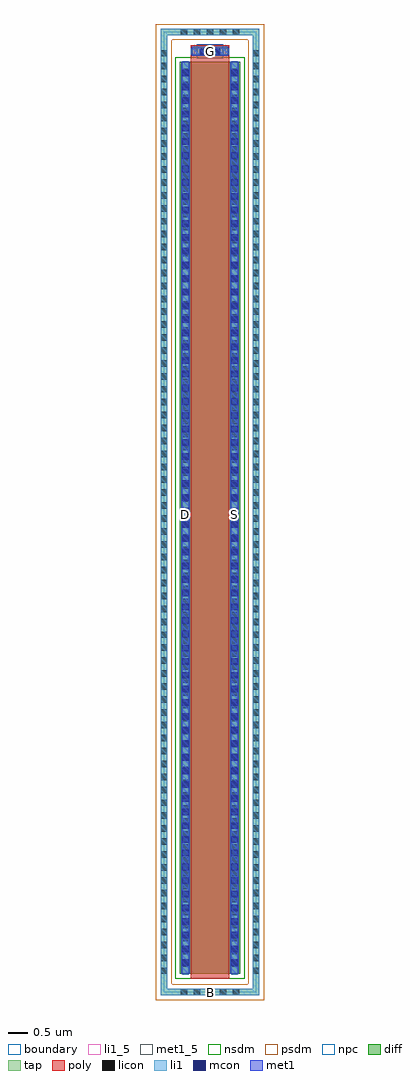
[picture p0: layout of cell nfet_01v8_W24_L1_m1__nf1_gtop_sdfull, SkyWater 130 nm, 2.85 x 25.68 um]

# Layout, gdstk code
import gdstk
lib = gdstk.Library(unit=1e-6, precision=1e-09)
def R(c, l, rs):  # rectangles x0, y0, x1, y1
    for r in rs: c.add(gdstk.rectangle(r[:2], r[2:], *l))
def A(c, l, x, y, w, h, nx, ny, dx, dy):  # array of equal rectangles
    R(c, l, [(x+i*dx, y+j*dy, x+i*dx+w, y+j*dy+h) for i in range(nx) for j in range(ny)])
diff = (65, 20)
tap = (65, 44)
poly = (66, 20)
licon = (66, 44)
li1_5 = (67, 5)
li1 = (67, 20)
mcon = (67, 44)
met1_5 = (68, 5)
met1 = (68, 20)
nsdm = (93, 44)
psdm = (94, 20)
npc = (95, 20)
boundary = (235, 4)

sky130_fd_pr__nfet_01v8_ = lib.new_cell('sky130_fd_pr__nfet_01v8_VTZVDW')
R(sky130_fd_pr__nfet_01v8_, diff, [(-0.79,-12.155,0.79,11.845)])
R(sky130_fd_pr__nfet_01v8_, tap, [(-1.3,-12.715,1.3,-12.545), (-1.3,-12.545,-1.13,12.545), (1.13,-12.545,1.3,12.545), (-1.3,12.545,1.3,12.715)])
R(sky130_fd_pr__nfet_01v8_, poly, [(-0.5,-12.285,0.5,12.285)])
A(sky130_fd_pr__nfet_01v8_, licon, -0.765, -12.715, 0.17, 0.17, 5, 2, 0.34, 25.26)
A(sky130_fd_pr__nfet_01v8_, licon, -1.3, -12.155, 0.17, 0.17, 1, 72, 0, 0.34)
A(sky130_fd_pr__nfet_01v8_, licon, 1.13, -12.155, 0.17, 0.17, 1, 72, 0, 0.34)
A(sky130_fd_pr__nfet_01v8_, licon, -0.73, -11.97, 0.17, 0.17, 1, 70, 0, 0.34)
A(sky130_fd_pr__nfet_01v8_, licon, 0.56, -11.97, 0.17, 0.17, 1, 70, 0, 0.34)
R(sky130_fd_pr__nfet_01v8_, licon, [(-0.255,12.035,-0.085,12.205), (0.085,12.035,0.255,12.205)])
R(sky130_fd_pr__nfet_01v8_, li1, [(-1.3,-12.715,1.3,-12.545), (-1.3,-12.545,-1.13,12.545), (1.13,-12.545,1.3,12.545), (-0.73,-12.175,-0.56,11.865), (0.56,-12.175,0.73,11.865), (-0.5,12.035,0.5,12.205), (-1.3,12.545,1.3,12.715)])
A(sky130_fd_pr__nfet_01v8_, mcon, -0.73, -11.94, 0.17, 0.17, 1, 66, 0, 0.36)
A(sky130_fd_pr__nfet_01v8_, mcon, 0.56, -11.94, 0.17, 0.17, 1, 66, 0, 0.36)
R(sky130_fd_pr__nfet_01v8_, mcon, [(-0.265,12.035,-0.095,12.205), (0.095,12.035,0.265,12.205)])
R(sky130_fd_pr__nfet_01v8_, met1, [(-0.76,-12.155,-0.53,11.845), (0.53,-12.155,0.76,11.845), (-0.48,12.005,0.48,12.235)])
R(sky130_fd_pr__nfet_01v8_, nsdm, [(-0.915,-12.28,0.915,11.97)])
R(sky130_fd_pr__nfet_01v8_, psdm, [(-1.425,-12.84,1.425,-12.42), (-1.425,-12.42,-1.005,12.42), (1.005,-12.42,1.425,12.42), (-1.425,12.42,1.425,12.84)])
R(sky130_fd_pr__nfet_01v8_, npc, [(-0.355,11.935,0.355,12.305)])
R(sky130_fd_pr__nfet_01v8_, boundary, [(-1.215,-12.63,1.215,12.63)])
sky130_fd_pr__nfet_01v8_.add(gdstk.Label('B', (0,-12.63), layer=67, texttype=5))
sky130_fd_pr__nfet_01v8_.add(gdstk.Label('D', (-0.645,-0.155), layer=67, texttype=5))
sky130_fd_pr__nfet_01v8_.add(gdstk.Label('S', (0.645,-0.155), layer=67, texttype=5))
sky130_fd_pr__nfet_01v8_.add(gdstk.Label('G', (0,12.12), layer=67, texttype=5))

nfet_01v8_w24_l1_m1__nf1 = lib.new_cell('nfet_01v8_W24_L1_m1__nf1_gtop_sdfull')
R(nfet_01v8_w24_l1_m1__nf1, li1_5, [(1.13,-0.085,1.3,0.085)])
R(nfet_01v8_w24_l1_m1__nf1, li1, [(1.13,-0.085,1.3,0.085)])
R(nfet_01v8_w24_l1_m1__nf1, met1_5, [(0.455,12.475,0.685,12.675), (1.745,12.475,1.975,12.675), (0.735,24.635,1.695,24.865)])
R(nfet_01v8_w24_l1_m1__nf1, met1, [(0.455,12.475,0.685,12.675), (1.745,12.475,1.975,12.675), (0.735,24.635,1.695,24.865)])
nfet_01v8_w24_l1_m1__nf1.add(gdstk.Reference(sky130_fd_pr__nfet_01v8_, (1.215,12.63)))
nfet_01v8_w24_l1_m1__nf1.add(gdstk.Label('D', (0.57,12.575), layer=68, texttype=5))
nfet_01v8_w24_l1_m1__nf1.add(gdstk.Label('S', (1.86,12.575), layer=68, texttype=5))
nfet_01v8_w24_l1_m1__nf1.add(gdstk.Label('G', (1.215,24.75), layer=68, texttype=5))
nfet_01v8_w24_l1_m1__nf1.add(gdstk.Label('B', (1.215,0), layer=67, texttype=5))

lib.write_gds('nfet_01v8_W24_L1_m1__nf1_gtop_sdfull.gds')
